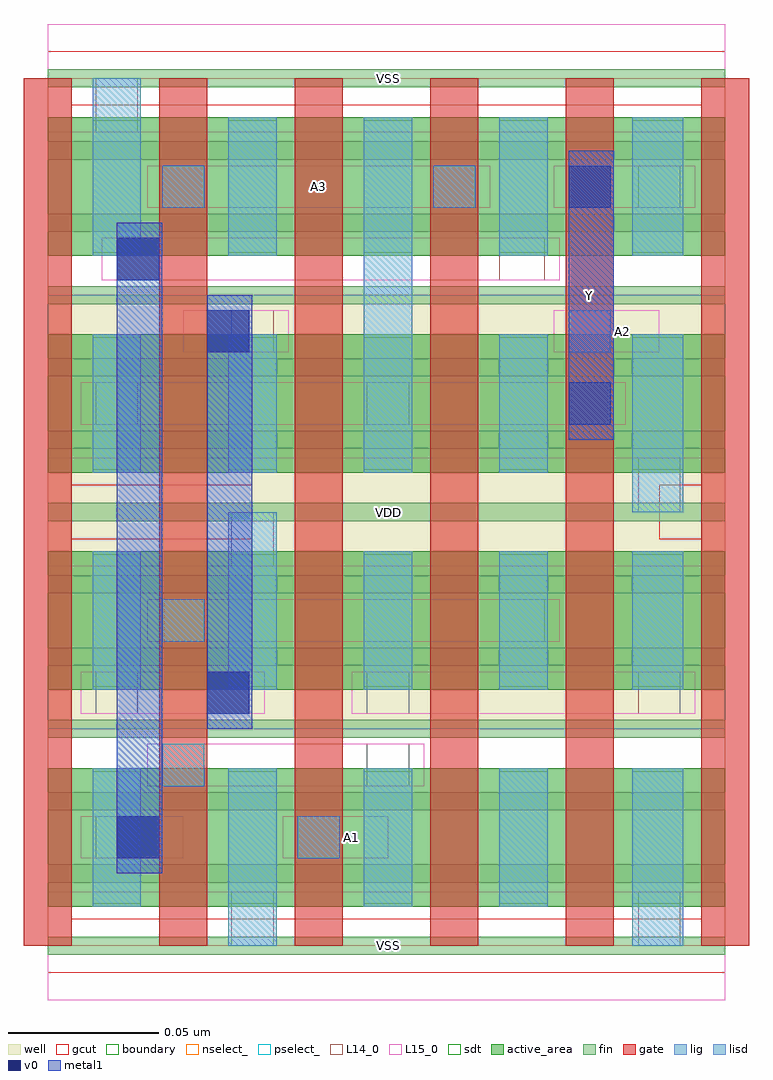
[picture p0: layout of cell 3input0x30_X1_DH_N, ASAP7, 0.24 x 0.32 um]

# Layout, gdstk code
import gdstk
lib = gdstk.Library(unit=1e-6, precision=1e-09)
def R(c, l, rs):  # rectangles x0, y0, x1, y1
    for r in rs: c.add(gdstk.rectangle(r[:2], r[2:], *l))
def A(c, l, x, y, w, h, nx, ny, dx, dy):  # array of equal rectangles
    R(c, l, [(x+i*dx, y+j*dy, x+i*dx+w, y+j*dy+h) for i in range(nx) for j in range(ny)])
def P(c, l, *ps):  # polygons
    for p in ps: c.add(gdstk.Polygon(p, *l))
well = (1, 0)
fin = (2, 0)
gate = (7, 0)
gcut = (10, 0)
active_area = (11, 0)
nselect_ = (12, 0)
pselect_ = (13, 0)
L14_0 = (14, 0)
L15_0 = (15, 0)
lig = (16, 0)
lisd = (17, 0)
v0 = (18, 0)
metal1 = (19, 0)
sdt = (88, 0)
boundary = (100, 0)

c_3input0x30_x1_dh_n = lib.new_cell('3input0x30_X1_DH_N')
R(c_3input0x30_x1_dh_n, well, [(0,0.072,0.225,0.144), (0,0.144,0.225,0.216)])
A(c_3input0x30_x1_dh_n, fin, 0, -0.003, 0.225, 0.006, 1, 13, 0, 0.024)
A(c_3input0x30_x1_dh_n, gate, -0.008, 0, 0.016, 0.288, 6, 1, 0.045, 0)
P(c_3input0x30_x1_dh_n, gcut, [(0,-0.009),(0,0),(-0.008,0),(-0.008,0.279),(0.008,0.279),(0.008,0.153),(0.068,0.153),(0.068,0.135),(0.008,0.135),(0.008,0.009),(0.217,0.009),(0.217,0.135),(0.203,0.135),(0.203,0.153),(0.217,0.153),(0.217,0.279),(-0.008,0.279),(-0.008,0.288),(0,0.288),(0,0.297),(0.225,0.297),(0.225,0.288),(0.233,0.288),(0.233,0),(0.225,0),(0.225,-0.009)])
A(c_3input0x30_x1_dh_n, active_area, 0, 0.013, 0.225, 0.046, 1, 4, 0, 0.072)
R(c_3input0x30_x1_dh_n, nselect_, [(0,0,0.225,0.072), (0,0.216,0.225,0.288)])
R(c_3input0x30_x1_dh_n, pselect_, [(0,0.072,0.225,0.144), (0,0.144,0.225,0.216)])
A(c_3input0x30_x1_dh_n, L14_0, 0.016, 0.077, 0.014, 0.014, 3, 1, 0.09, 0)
R(c_3input0x30_x1_dh_n, L14_0, [(0.061,0,0.075,0.018), (0.196,0,0.21,0.018), (0.016,0.029,0.03,0.043), (0.083,0.029,0.097,0.043), (0.038,0.053,0.052,0.067), (0.106,0.053,0.12,0.067), (0.038,0.101,0.052,0.115), (0.15,0.101,0.165,0.115), (0.061,0.126,0.075,0.144), (0.196,0.144,0.21,0.162), (0.016,0.173,0.03,0.187), (0.106,0.173,0.12,0.187), (0.061,0.197,0.075,0.211), (0.173,0.197,0.187,0.211), (0.15,0.221,0.165,0.235), (0.038,0.245,0.052,0.259), (0.128,0.245,0.142,0.259), (0.196,0.245,0.21,0.259), (0.016,0.27,0.03,0.288)])
A(c_3input0x30_x1_dh_n, L15_0, 0, -0.018, 0.225, 0.036, 1, 3, 0, 0.144)
R(c_3input0x30_x1_dh_n, L15_0, [(0.011,0.029,0.045,0.043), (0.078,0.029,0.113,0.043), (0.033,0.053,0.125,0.067), (0.011,0.077,0.072,0.091), (0.101,0.077,0.215,0.091), (0.033,0.101,0.17,0.115), (0.011,0.173,0.192,0.187), (0.045,0.197,0.08,0.211), (0.168,0.197,0.203,0.211), (0.018,0.221,0.17,0.235), (0.033,0.245,0.147,0.259), (0.168,0.245,0.215,0.259)])
R(c_3input0x30_x1_dh_n, lig, [(0.083,0.029,0.097,0.043), (0.038,0.053,0.052,0.067), (0.038,0.101,0.052,0.115), (0.173,0.197,0.187,0.211), (0.038,0.245,0.052,0.259), (0.128,0.245,0.142,0.259)])
A(c_3input0x30_x1_dh_n, lisd, 0.015, 0.013, 0.016, 0.046, 1, 3, 0, 0.072)
A(c_3input0x30_x1_dh_n, lisd, 0.15, 0.013, 0.016, 0.046, 1, 4, 0, 0.072)
R(c_3input0x30_x1_dh_n, lisd, [(0.06,0,0.076,0.059), (0.194,0,0.211,0.059), (0.105,0.013,0.121,0.059), (0.06,0.085,0.076,0.144), (0.105,0.085,0.121,0.131), (0.194,0.085,0.211,0.131), (0.194,0.144,0.211,0.203), (0.06,0.157,0.076,0.203), (0.105,0.157,0.121,0.275), (0.015,0.229,0.031,0.288), (0.06,0.229,0.076,0.275), (0.194,0.229,0.211,0.275)])
R(c_3input0x30_x1_dh_n, v0, [(0.023,0.029,0.037,0.043), (0.053,0.077,0.067,0.091), (0.173,0.173,0.187,0.187), (0.053,0.197,0.067,0.211), (0.023,0.221,0.037,0.235), (0.173,0.245,0.187,0.259)])
R(c_3input0x30_x1_dh_n, metal1, [(0.023,0.024,0.038,0.24), (0.053,0.072,0.068,0.216), (0.173,0.168,0.188,0.264)])
A(c_3input0x30_x1_dh_n, sdt, 0.015, 0.014, 0.016, 0.044, 4, 4, 0.045, 0.072)
A(c_3input0x30_x1_dh_n, sdt, 0.194, 0.014, 0.017, 0.044, 1, 4, 0, 0.072)
R(c_3input0x30_x1_dh_n, boundary, [(0,0,0.225,0.288)])
c_3input0x30_x1_dh_n.add(gdstk.Label('A1', (0.101,0.036), layer=15, texttype=251))
c_3input0x30_x1_dh_n.add(gdstk.Label('VSS', (0.113,0), layer=15, texttype=251))
c_3input0x30_x1_dh_n.add(gdstk.Label('VDD', (0.113,0.144), layer=15, texttype=251))
c_3input0x30_x1_dh_n.add(gdstk.Label('VDD', (0.113,0.144), layer=15, texttype=251))
c_3input0x30_x1_dh_n.add(gdstk.Label('VSS', (0.113,0.288), layer=15, texttype=251))
c_3input0x30_x1_dh_n.add(gdstk.Label('VSS', (0.113,0), layer=15, texttype=251))
c_3input0x30_x1_dh_n.add(gdstk.Label('VDD', (0.113,0.144), layer=15, texttype=251))
c_3input0x30_x1_dh_n.add(gdstk.Label('VDD', (0.113,0.144), layer=15, texttype=251))
c_3input0x30_x1_dh_n.add(gdstk.Label('VSS', (0.113,0.288), layer=15, texttype=251))
c_3input0x30_x1_dh_n.add(gdstk.Label('A2', (0.191,0.204), layer=15, texttype=251))
c_3input0x30_x1_dh_n.add(gdstk.Label('VSS', (0.113,0), layer=15, texttype=251))
c_3input0x30_x1_dh_n.add(gdstk.Label('VDD', (0.113,0.144), layer=15, texttype=251))
c_3input0x30_x1_dh_n.add(gdstk.Label('VDD', (0.113,0.144), layer=15, texttype=251))
c_3input0x30_x1_dh_n.add(gdstk.Label('VSS', (0.113,0.288), layer=15, texttype=251))
c_3input0x30_x1_dh_n.add(gdstk.Label('A3', (0.09,0.252), layer=15, texttype=251))
c_3input0x30_x1_dh_n.add(gdstk.Label('VSS', (0.113,0), layer=15, texttype=251))
c_3input0x30_x1_dh_n.add(gdstk.Label('VDD', (0.113,0.144), layer=15, texttype=251))
c_3input0x30_x1_dh_n.add(gdstk.Label('VDD', (0.113,0.144), layer=15, texttype=251))
c_3input0x30_x1_dh_n.add(gdstk.Label('VSS', (0.113,0.288), layer=15, texttype=251))
c_3input0x30_x1_dh_n.add(gdstk.Label('VSS', (0.113,0), layer=3, texttype=251))
c_3input0x30_x1_dh_n.add(gdstk.Label('VSS', (0.113,0.288), layer=3, texttype=251))
c_3input0x30_x1_dh_n.add(gdstk.Label('VSS', (0.113,0), layer=3, texttype=251))
c_3input0x30_x1_dh_n.add(gdstk.Label('VSS', (0.113,0.288), layer=3, texttype=251))
c_3input0x30_x1_dh_n.add(gdstk.Label('VSS', (0.113,0), layer=3, texttype=251))
c_3input0x30_x1_dh_n.add(gdstk.Label('VSS', (0.113,0.288), layer=3, texttype=251))
c_3input0x30_x1_dh_n.add(gdstk.Label('VSS', (0.113,0), layer=3, texttype=251))
c_3input0x30_x1_dh_n.add(gdstk.Label('VSS', (0.113,0.288), layer=3, texttype=251))
c_3input0x30_x1_dh_n.add(gdstk.Label('VDD', (0.113,0.144), layer=1, texttype=251))
c_3input0x30_x1_dh_n.add(gdstk.Label('VDD', (0.113,0.144), layer=1, texttype=251))
c_3input0x30_x1_dh_n.add(gdstk.Label('VDD', (0.113,0.144), layer=1, texttype=251))
c_3input0x30_x1_dh_n.add(gdstk.Label('VDD', (0.113,0.144), layer=1, texttype=251))
c_3input0x30_x1_dh_n.add(gdstk.Label('VDD', (0.113,0.144), layer=1, texttype=251))
c_3input0x30_x1_dh_n.add(gdstk.Label('VDD', (0.113,0.144), layer=1, texttype=251))
c_3input0x30_x1_dh_n.add(gdstk.Label('VDD', (0.113,0.144), layer=1, texttype=251))
c_3input0x30_x1_dh_n.add(gdstk.Label('VDD', (0.113,0.144), layer=1, texttype=251))
c_3input0x30_x1_dh_n.add(gdstk.Label('Y', (0.18,0.216), layer=19, texttype=251))

lib.write_gds('3input0x30_X1_DH_N.gds')
